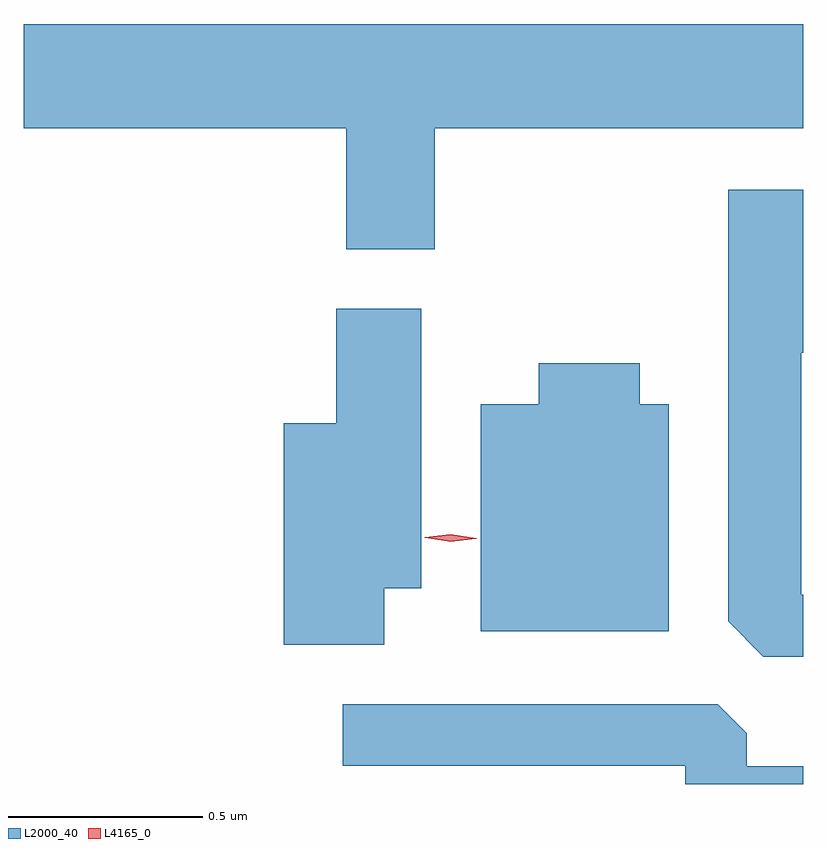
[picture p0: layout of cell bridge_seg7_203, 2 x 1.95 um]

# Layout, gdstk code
import gdstk
lib = gdstk.Library(unit=1e-6, precision=1e-09)
def P(c, l, *ps):  # polygons
    for p in ps: c.add(gdstk.Polygon(p, *l))
L2000_40 = (2000, 40)
L4165_0 = (4165, 0)

bridge_seg7_203 = lib.new_cell('bridge_seg7_203')
P(bridge_seg7_203, L2000_40, [(1577.519,1674.356),(1578.464,1674.356),(1578.464,1674.624),(1576.464,1674.624),(1576.464,1674.356),(1577.291,1674.356),(1577.291,1674.046),(1577.519,1674.046)],
  [(1578.464,1673.159),(1578.459,1673.159),(1578.459,1673.781),(1578.464,1673.781),(1578.464,1674.199),(1578.271,1674.199),(1578.271,1673.092),(1578.362,1673.001),(1578.464,1673.001)],
  [(1577.389,1673.176),(1577.484,1673.176),(1577.484,1673.894),(1577.266,1673.894),(1577.266,1673.599),(1577.131,1673.599),(1577.131,1673.031),(1577.389,1673.031)],
  [(1578.119,1673.649),(1578.044,1673.649),(1578.044,1673.754),(1577.786,1673.754),(1577.786,1673.649),(1577.636,1673.649),(1577.636,1673.066),(1578.119,1673.066)],
  [(1578.464,1672.719),(1578.319,1672.719),(1578.319,1672.804),(1578.244,1672.879),(1577.283,1672.879),(1577.283,1672.721),(1578.161,1672.721),(1578.161,1672.674),(1578.464,1672.674)])
P(bridge_seg7_203, L4165_0, [(1577.559,1673.295),(1577.493,1673.306),(1577.493,1673.306),(1577.493,1673.307),(1577.56,1673.315),(1577.625,1673.304),(1577.626,1673.304),(1577.625,1673.303)])

lib.write_gds('bridge_seg7_203.gds')
